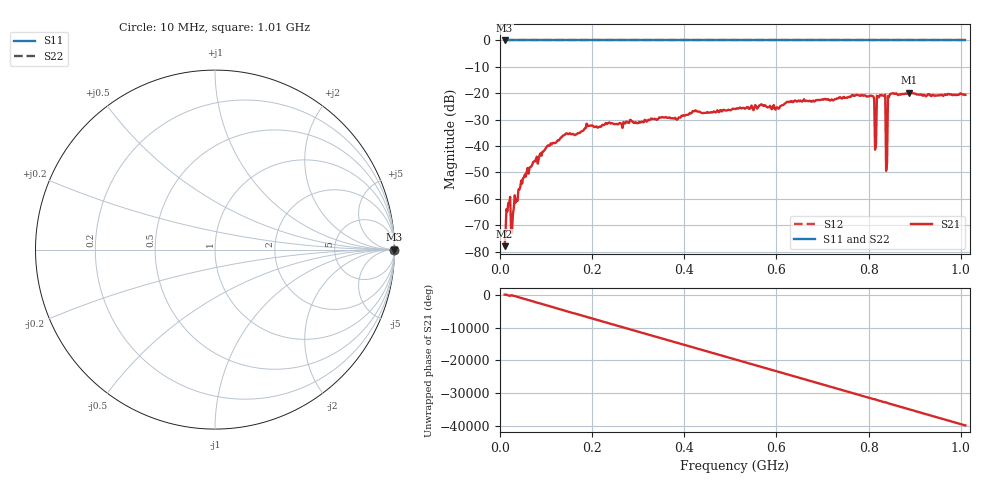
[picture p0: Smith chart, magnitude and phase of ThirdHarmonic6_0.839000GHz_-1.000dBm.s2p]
! 8/16/2025 3:49:36 AM
! C:\ANRITSUVNA\TEMP\TEMP.S2P
! CHANNEL.1
! TR.MEASUREMENT
! RAW.DATA
! RF.CORRECTION.OFF
! AVERAGING.OFF
! IF.BANDWIDTH: 5KHZ
! SWEEPTYPE:  FREQ.SWEEP(Linear)
! Reference Plane Port Info
! PORT:  PORT1  PORT2
! DISTANCE:  0  m  0  m
! TIME:  0  s  0  s
! PHASE.OFFSET:  0  deg.  0  deg.
! LOSS:  0  dB  0  dB
! REF.LOSS:  0  dB  0  dB
! REF.FREQ:  0  Hz  0  Hz
! Power Info
! POWER:  -20  dBm  -20  dBm
! EFF.POWER:  -20  dBm  -20  dBm
! SOURCE.ATTEN:  0  dB  0  dB
! TEST.ATTEN:  0  dB  0  dB
# GHZ S RI R 50.0
! FREQ.GHZ  S11RE  S11IM  S21RE  S21IM  S12RE  S12IM  S22RE  S22IM
!; PortSelection: Port_12
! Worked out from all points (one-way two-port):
!   501 points, 10 MHz to 1.01 GHz, reference 50 ohm
!   highest |S21| = -19.84 dB at 888 MHz (marker M1); lowest = -78.0 dB at 10 MHz (marker M2)
!   lowest |S11| = 0.0 dB at 10 MHz (marker M3)
!   |S11| at or under -10 dB: nowhere
!   |S22| runs from 0.0 to 0.0 dB; largest |S21 - S12| = 1.1
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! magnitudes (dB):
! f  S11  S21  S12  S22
! 10 MHz  0.0  -78.0  0.0  0.0
! 18 MHz  0.0  -61.6  0.0  0.0
! 28 MHz  0.0  -65.9  0.0  0.0
! 50 MHz  0.0  -52.2  0.0  0.0
! 76 MHz  0.0  -45.8  0.0  0.0
! 140 MHz  0.0  -35.8  0.0  0.0
! 178 MHz  0.0  -34.4  0.0  0.0
! 344 MHz  0.0  -29.6  0.0  0.0
! 510 MHz  0.0  -26.0  0.0  0.0
! 678 MHz  0.0  -23.0  0.0  0.0
! 806 MHz  0.0  -20.9  0.0  0.0
! 812 MHz  0.0  -22.1  0.0  0.0
! 816 MHz  0.0  -39.1  0.0  0.0
! 822 MHz  0.0  -21.6  0.0  0.0
! 832 MHz  0.0  -20.9  0.0  0.0
! 836 MHz  0.0  -20.5  0.0  0.0
! 840 MHz  0.0  -46.3  0.0  0.0
! 842 MHz  0.0  -21.1  0.0  0.0
! 844 MHz  0.0  -21.5  0.0  0.0
! 846 MHz  0.0  -20.5  0.0  0.0
! 888 MHz  0.0  -19.8  0.0  0.0
! 1.01 GHz  0.0  -20.6  0.0  0.0
